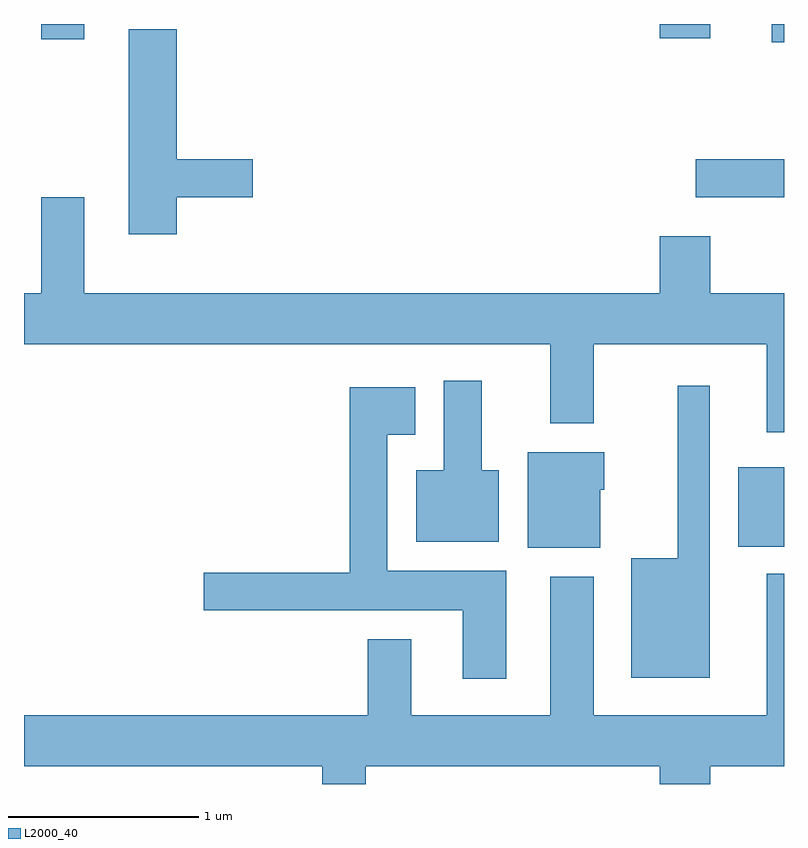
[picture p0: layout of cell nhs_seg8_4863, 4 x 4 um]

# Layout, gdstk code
import gdstk
lib = gdstk.Library(unit=1e-6, precision=1e-09)
def R(c, l, rs):  # rectangles x0, y0, x1, y1
    for r in rs: c.add(gdstk.rectangle(r[:2], r[2:], *l))
def P(c, l, *ps):  # polygons
    for p in ps: c.add(gdstk.Polygon(p, *l))
L2000_40 = (2000, 40)

nhs_seg8_4863 = lib.new_cell('nhs_seg8_4863')
R(nhs_seg8_4863, L2000_40, [(335.371,1817.591,335.611,1818.009), (335.146,1819.431,335.611,1819.629), (335.546,1820.246,335.611,1820.342), (331.701,1820.261,331.929,1820.342), (334.956,1820.266,335.224,1820.342)])
P(nhs_seg8_4863, L2000_40, [(332.414,1819.431),(332.814,1819.431),(332.814,1819.629),(332.414,1819.629),(332.414,1820.314),(332.161,1820.314),(332.161,1819.236),(332.414,1819.236)],
  [(335.611,1818.924),(335.224,1818.924),(335.224,1819.224),(334.956,1819.224),(334.956,1818.924),(331.929,1818.924),(331.929,1819.429),(331.701,1819.429),(331.701,1818.924),(331.611,1818.924),(331.611,1818.656),(334.381,1818.656),(334.381,1818.241),(334.609,1818.241),(334.609,1818.656),(335.521,1818.656),(335.521,1818.193),(335.611,1818.193)],
  [(334.109,1817.994),(334.019,1817.994),(334.019,1818.464),(333.821,1818.464),(333.821,1817.994),(333.676,1817.994),(333.676,1817.616),(334.109,1817.616)],
  [(335.219,1818.438),(335.051,1818.438),(335.051,1817.529),(334.806,1817.529),(334.806,1816.901),(335.219,1816.901)],
  [(334.149,1817.464),(333.524,1817.464),(333.524,1818.181),(333.669,1818.181),(333.669,1818.429),(333.326,1818.429),(333.326,1817.454),(332.556,1817.454),(332.556,1817.256),(333.921,1817.256),(333.921,1816.896),(334.149,1816.896)],
  [(334.644,1817.891),(334.664,1817.891),(334.664,1818.089),(334.261,1818.089),(334.261,1817.586),(334.644,1817.586)],
  [(333.409,1816.436),(334.956,1816.436),(334.956,1816.342),(335.224,1816.342),(335.224,1816.436),(335.611,1816.436),(335.611,1817.448),(335.521,1817.448),(335.521,1816.704),(334.609,1816.704),(334.609,1817.434),(334.381,1817.434),(334.381,1816.704),(333.649,1816.704),(333.649,1817.104),(333.421,1817.104),(333.421,1816.704),(331.611,1816.704),(331.611,1816.436),(333.181,1816.436),(333.181,1816.342),(333.409,1816.342)])

lib.write_gds('nhs_seg8_4863.gds')
